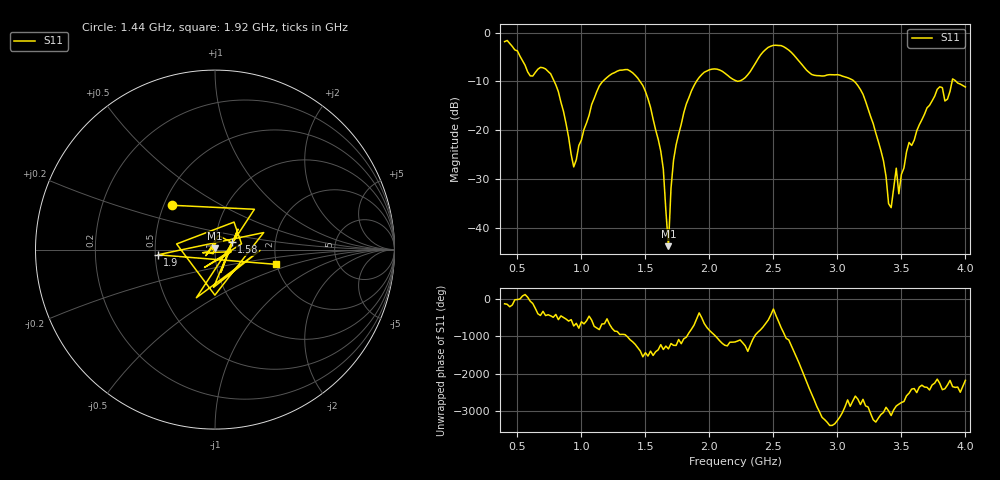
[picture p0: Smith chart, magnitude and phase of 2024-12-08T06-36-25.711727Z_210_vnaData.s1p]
!Created with skrf (http://scikit-rf.org).
# Hz S RI R 50.0
!freq ReS11 ImS11
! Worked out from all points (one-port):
!   181 points, 400 MHz to 4 GHz, reference 50 ohm
!   lowest |S11| = -43.8 dB at 1.68 GHz (marker M1), VSWR 1.01, Z = 49.9 + j0.63 ohm
!   |S11| at or under -10 dB: 788 MHz to 1.166 GHz (378.5 MHz wide, 38.7 % of centre); 1.459 GHz to 1.898 GHz (439.3 MHz wide, 26.2 % of centre); 3.133 GHz to 3.896 GHz (763.3 MHz wide, 21.7 % of centre) (the widest 3 of 4)
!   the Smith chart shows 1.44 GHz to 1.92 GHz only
!   S11 on the Smith chart (normalised r, x): 1.44 GHz: 0.55, +0.31; 1.58 GHz: 1.20, +0.10; 1.9 GHz: 0.52, -0.03; 1.92 GHz: 1.98, -0.37
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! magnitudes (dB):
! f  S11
! 400 MHz  -1.8
! 600 MHz  -8.8
! 760 MHz  -8.4
! 860 MHz  -16.1
! 940 MHz  -27.5
! 1.14 GHz  -10.9
! 1.3 GHz  -7.7
! 1.44 GHz  -9.3
! 1.58 GHz  -19.9
! 1.64 GHz  -28.0
! 1.68 GHz  -43.8
! 1.7 GHz  -31.9
! 1.72 GHz  -26.1
! 1.76 GHz  -20.8
! 1.9 GHz  -9.9
! 1.92 GHz  -9.2
! 2.2 GHz  -9.8
! 2.48 GHz  -2.8
! 2.66 GHz  -4.6
! 3.1 GHz  -9.4
! 3.28 GHz  -18.7
! 3.42 GHz  -35.9
! 3.46 GHz  -27.8
! 3.48 GHz  -33.1
! 3.56 GHz  -22.5
! 3.78 GHz  -11.6
! 3.84 GHz  -14.0
! 4 GHz  -11.1
